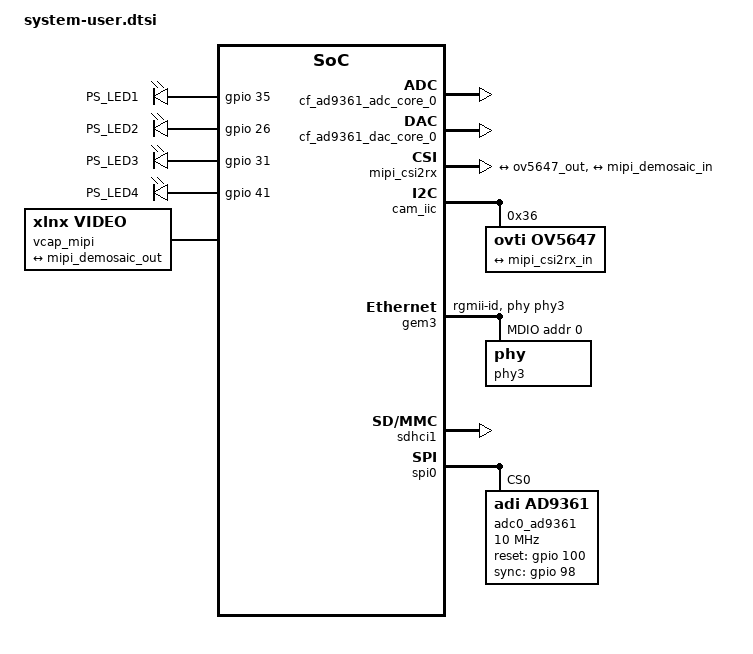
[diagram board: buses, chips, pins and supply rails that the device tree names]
/include/ "system-conf.dtsi"
/ {
	chosen {
		bootargs = "console=ttyPS0,115200 earlycon root=/dev/mmcblk1p2 rw rootwait";
		stdout-path = "serial0:115200n8";
	};

	leds {
		compatible = "gpio-leds";

		ps_led1 {
			label = "PS_LED1";
			gpios = <&gpio 35 0>; /* MIO35, Active High */
			default-state = "off";
		};

		ps_led2 {
			label = "PS_LED2";
			gpios = <&gpio 26 0>; /* MIO26, Active High */
			default-state = "off";
		};

		ps_led3 {
			label = "PS_LED3";
			gpios = <&gpio 31 0>; /* MIO31, Active High */
			linux,default-trigger = "heartbeat";
		};

		ps_led4 {
			label = "PS_LED4";
			gpios = <&gpio 41 0>; /* MIO41, Active High */
			default-state = "on";
		};
	};

	tcm_0a: tcm@ffe00000 {
		compatible = "mmio-sram";
		reg = <0x0 0xffe00000 0x0 0x10000>;
		power-domain = <&zynqmp_firmware 15>;
	};

	tcm_0b: tcm@ffe20000 {
		compatible = "mmio-sram";
		reg = <0x0 0xffe20000 0x0 0x10000>;
		power-domain = <&zynqmp_firmware 16>;
	};

	tcm_1a: tcm@ffe90000 {
		compatible = "mmio-sram";
		reg = <0x0 0xffe90000 0x0 0x10000>;
		power-domain = <&zynqmp_firmware 17>;
	};

	tcm_1b: tcm@ffeb0000 {
		compatible = "mmio-sram";
		reg = <0x0 0xffeb0000 0x0 0x10000>;
		power-domain = <&zynqmp_firmware 18>;
	};

	rpu: rpu@ff9a0000 {
		compatible = "xlnx,zynqmp-r5-remoteproc";
		xlnx,cluster-mode = <1>; /* split：双核独立运行（0=lockstep，1=split） */
		#address-cells = <2>;
		#size-cells = <2>;
		ranges;

		r5_0: r5@0 {
			compatible = "xlnx,zynqmp-r5-remoteproc";
			sram = <&tcm_0a>, <&tcm_0b>;
			power-domain = <&zynqmp_firmware 7>;
			mboxes = <&ipi_mailbox_rpu0 0>, <&ipi_mailbox_rpu0 1>;
			mbox-names = "tx", "rx";
		};

		r5_1: r5@1 {
			compatible = "xlnx,zynqmp-r5-remoteproc";
			sram = <&tcm_1a>, <&tcm_1b>;
			power-domain = <&zynqmp_firmware 8>;
			mboxes = <&ipi_mailbox_rpu1 0>, <&ipi_mailbox_rpu1 1>;
			mbox-names = "tx", "rx";
		};
	};

	/* AD9361 参考时钟占位：40MHz。实际时钟源（核心板 AD9523-1 或 FMCOMMS3 卡上
	 * AD9523）需按原理图核实后替换为 ad9523 时钟驱动节点 */
	ad9361_clkin: ad9361-clkin {
		compatible = "fixed-clock";
		clock-frequency = <40000000>;
		clock-output-names = "ad9361_ext_refclk";
		#clock-cells = <0>;
	};

	/* OV5647 XVCLK 25MHz：树莓派兼容模组自带晶振，驱动只读频率做 PLL 计算
	 * (ov5647.c 要求严格 25MHz)，不驱动引脚 */
	cam_xvclk: cam-xvclk {
		compatible = "fixed-clock";
		clock-frequency = <25000000>;
		#clock-cells = <0>;
	};

	/* MIPI V4L2 采集管线容器（xlnx,video）：frmbuf DMA 通道 + media graph 根 */
	vcap_mipi: vcap-mipi {
		compatible = "xlnx,video";
		dmas = <&mipi_frmbuf_wr 0>;
		dma-names = "port0";

		ports {
			#address-cells = <1>;
			#size-cells = <0>;

			port@0 {
				reg = <0>;
				direction = "input";
				vcap_mipi_in0: endpoint {
					remote-endpoint = <&mipi_demosaic_out>;
				};
			};
		};
	};

	/* AD9361 PL 数据通路（地址与 tcl/02b_ad9361.tcl 一致） */
	fpga_axi: fpga-axi@0 {
		interrupt-parent = <&gic>;
		compatible = "simple-bus";
		#address-cells = <0x2>;
		#size-cells = <0x2>;
		ranges;

		rx_dma: dma@80110000 {
			compatible = "adi,axi-dmac-1.00.a";
			reg = <0x0 0x80110000 0x0 0x10000>;
			#dma-cells = <1>;
			#clock-cells = <0>;
			/* xlconcat_0 In4 -> pl_ps_irq0[4] = GIC SPI 93 */
			interrupts = <0 93 4>;
			clocks = <&zynqmp_clk 71>;

			adi,channels {
				#size-cells = <0>;
				#address-cells = <1>;

				dma-channel@0 {
					reg = <0>;
					adi,source-bus-width = <64>;
					adi,source-bus-type = <2>;
					adi,destination-bus-width = <64>;
					adi,destination-bus-type = <0>;
				};
			};
		};

		tx_dma: dma@80120000 {
			compatible = "adi,axi-dmac-1.00.a";
			reg = <0x0 0x80120000 0x0 0x10000>;
			#dma-cells = <1>;
			#clock-cells = <0>;
			/* xlconcat_0 In5 -> pl_ps_irq0[5] = GIC SPI 94 */
			interrupts = <0 94 4>;
			clocks = <&zynqmp_clk 71>;

			adi,channels {
				#size-cells = <0>;
				#address-cells = <1>;

				dma-channel@0 {
					reg = <0>;
					adi,source-bus-width = <64>;
					adi,source-bus-type = <0>;
					adi,destination-bus-width = <64>;
					adi,destination-bus-type = <1>;
				};
			};
		};

		cf_ad9361_adc_core_0: cf-ad9361-lpc@80100000 {
			compatible = "adi,axi-ad9361-6.00.a";
			reg = <0x0 0x80100000 0x0 0x6000>;
			dmas = <&rx_dma 0>;
			dma-names = "rx";
			spibus-connected = <&adc0_ad9361>;
		};

		cf_ad9361_dac_core_0: cf-ad9361-dds-core-lpc@80104000 {
			compatible = "adi,axi-ad9361-dds-6.00.a";
			reg = <0x0 0x80104000 0x0 0x1000>;
			clocks = <&adc0_ad9361 13>;
			clock-names = "sampl_clk";
			dmas = <&tx_dma 0>;
			dma-names = "tx";
		};

		/* ===== MIPI CSI-2 摄像头 (OV5647) —— 地址/中断与 tcl/02c_mipi_csi.tcl 一致 =====
		 * 链路: ov5647(SBGGR10) -> csi2rx -> demosaic(RGB30) -> frmbuf -> HP3
		 * 中断走 xlconcat_1 -> pl_ps_irq1[0..2] = GIC SPI 167/168/169
		 * 时钟: 71=pl_clk0(100M 控制) 72=pl_clk1(300M 视频)
		 */
		mipi_csi2rx: csi2rx@80130000 {
			compatible = "xlnx,mipi-csi2-rx-subsystem-5.0";
			reg = <0x0 0x80130000 0x0 0x10000>;
			interrupts = <0 167 4>;
			clocks = <&zynqmp_clk 71>, <&zynqmp_clk 72>;
			clock-names = "lite_aclk", "video_aclk";
			xlnx,csi-pxl-format = <0x2b>; /* RAW10 */
			xlnx,vfb;

			ports {
				#address-cells = <1>;
				#size-cells = <0>;

				port@0 {
					reg = <0>;
					mipi_csi2rx_in: endpoint {
						data-lanes = <1 2>;
						remote-endpoint = <&ov5647_out>;
					};
				};
				port@1 {
					reg = <1>;
					mipi_csi2rx_out: endpoint {
						remote-endpoint = <&mipi_demosaic_in>;
					};
				};
			};
		};

		mipi_demosaic: demosaic@80140000 {
			compatible = "xlnx,v-demosaic";
			reg = <0x0 0x80140000 0x0 0x10000>;
			clocks = <&zynqmp_clk 72>;
			reset-gpios = <&axi_gpio_mipi_rst 0 1>; /* GPIO_ACTIVE_LOW */
			xlnx,max-width = <3840>;
			xlnx,max-height = <2160>;

			ports {
				#address-cells = <1>;
				#size-cells = <0>;

				port@0 {
					reg = <0>;
					xlnx,video-width = <10>;
					mipi_demosaic_in: endpoint {
						remote-endpoint = <&mipi_csi2rx_out>;
					};
				};
				port@1 {
					reg = <1>;
					xlnx,video-width = <10>;
					mipi_demosaic_out: endpoint {
						remote-endpoint = <&vcap_mipi_in0>;
					};
				};
			};
		};

		mipi_frmbuf_wr: frmbuf-wr@80150000 {
			compatible = "xlnx,axi-frmbuf-wr-v2.2"; /* IP 2.4，寄存器兼容 v2.2 */
			#dma-cells = <1>;
			reg = <0x0 0x80150000 0x0 0x10000>;
			interrupts = <0 168 4>;
			clocks = <&zynqmp_clk 72>;
			clock-names = "ap_clk";
			reset-gpios = <&axi_gpio_mipi_rst 1 1>; /* GPIO_ACTIVE_LOW */
			xlnx,vid-formats = "xbgr2101010"; /* V4L2_PIX_FMT_XBGR30 */
			xlnx,max-width = <3840>;
			xlnx,max-height = <2160>;
			xlnx,pixels-per-clock = <1>;
			xlnx,dma-addr-width = <32>;
		};

		cam_iic: i2c@80160000 {
			compatible = "xlnx,xps-iic-2.00.a";
			reg = <0x0 0x80160000 0x0 0x10000>;
			interrupts = <0 169 4>;
			clocks = <&zynqmp_clk 71>;
			#address-cells = <1>;
			#size-cells = <0>;

			ov5647: camera@36 {
				compatible = "ovti,ov5647";
				reg = <0x36>;
				clocks = <&cam_xvclk>;

				port {
					ov5647_out: endpoint {
						data-lanes = <1 2>;
						remote-endpoint = <&mipi_csi2rx_in>;
					};
				};
			};
		};

		/* demosaic/frmbuf 的 ap_rst_n 复位控制（驱动强制要求 reset-gpios，
		 * 位0=demosaic 位1=frmbuf，低有效，见 tcl/02c_mipi_csi.tcl 6b 节） */
		axi_gpio_mipi_rst: gpio@80170000 {
			compatible = "xlnx,axi-gpio-2.0", "xlnx,xps-gpio-1.00.a";
			reg = <0x0 0x80170000 0x0 0x10000>;
			#gpio-cells = <2>;
			gpio-controller;
			clocks = <&zynqmp_clk 71>;
			xlnx,gpio-width = <0x2>;
			xlnx,all-outputs = <0x1>;
		};
	};
};

/* FMC F12（B50_L6_P，板上网络名 PWRGD）：厂商参考设计将其恒定驱动为高。
 * 现由 PL 常量端口 pwrgd 直接驱动（tcl/02b_ad9361.tcl + IMAGE_15EG.xdc），
 * 不再占用 EMIO GPIO，因此无需 hog。
 * 注：RESETB(EMIO[22])/SYNC(EMIO[20]) 由 ad9361 驱动的
 * reset-gpios/sync-gpios 管理，驱动 probe 时自会处理。 */

&zynqmp_ipi {
	ipi_mailbox_rpu0: mailbox@ff990000 {
		reg = <0x0 0xff990400 0x0 0x20>,
		      <0x0 0xff990420 0x0 0x20>,
		      <0x0 0xff990000 0x0 0x20>,
		      <0x0 0xff990020 0x0 0x20>;
		reg-names = "local_request_region",
		            "local_response_region",
		            "remote_request_region",
		            "remote_response_region";
		#mbox-cells = <1>;
		xlnx,ipi-id = <1>;
	};

	ipi_mailbox_rpu1: mailbox@ff990200 {
		reg = <0x0 0xff990400 0x0 0x20>,
		      <0x0 0xff990420 0x0 0x20>,
		      <0x0 0xff990200 0x0 0x20>,
		      <0x0 0xff990220 0x0 0x20>;
		reg-names = "local_request_region",
		            "local_response_region",
		            "remote_request_region",
		            "remote_response_region";
		#mbox-cells = <1>;
		xlnx,ipi-id = <2>;
	};
};

&gpio {
	status = "okay";
};

&gem3 {
	local-mac-address = [00 0a 35 00 00 02];
	phy-handle = <&phy3>;
	phy-mode = "rgmii-id";
	mdio {
		#address-cells = <1>;
		#size-cells = <0>;
		phy3: phy@0 {
			reg = <0>;
		};
	};
};

&xxv_ethernet_0 {
	local-mac-address = [00 0a 35 00 00 03];
};

&axi_gpio_led {
	status = "disabled"; /* PL LED 由 R5 固件独占控制 */
};

&sdhci1 {
	status = "okay";
	disable-wp;
	no-1-8-v;
};

/* AD9361 SPI + PHY（PS SPI0 via EMIO；配置取自 ADI adi-fmcomms2.dtsi FMCOMMS3） */
&spi0 {
	status = "okay";

	adc0_ad9361: ad9361-phy@0 {
		compatible = "adi,ad9361";
		reg = <0>;

		/* SPI Setup */
		spi-cpha;
		spi-max-frequency = <10000000>;

		/* Clocks */
		clocks = <&ad9361_clkin 0>;
		clock-names = "ad9361_ext_refclk";
		clock-output-names = "rx_sampl_clk", "tx_sampl_clk";
		#clock-cells = <1>;

		/* Control GPIOs（线号 = 78 + EMIO bit，见 IMAGE_15EG.xdc 注释） */
		reset-gpios = <&gpio 100 0>; /* EMIO[22] -> AD9361 RESETB (AB6), 低电平复位 */
		sync-gpios = <&gpio 98 0>;  /* EMIO[20] -> SYNC (U6) */

		/* Digital Interface Control */
		adi,digital-interface-tune-skip-mode = <0>;
		adi,pp-tx-swap-enable;
		adi,pp-rx-swap-enable;
		adi,rx-frame-pulse-mode-enable;
		adi,lvds-mode-enable;
		adi,lvds-bias-mV = <150>;
		adi,lvds-rx-onchip-termination-enable;
		adi,rx-data-delay = <4>;
		adi,tx-fb-clock-delay = <7>;

		adi,dcxo-coarse-and-fine-tune = <8 5920>;

		/* Mode Setup */
		adi,2rx-2tx-mode-enable;

		/* ENSM Mode */
		adi,frequency-division-duplex-mode-enable;

		adi,rx-rf-port-input-select = <0>; /* RX1A/RX2A balanced */
		adi,tx-rf-port-input-select = <0>; /* TX1A/TX2A */
		adi,tx-attenuation-mdB = <10000>;
		adi,tx-lo-powerdown-managed-enable;

		adi,rf-rx-bandwidth-hz = <18000000>;
		adi,rf-tx-bandwidth-hz = <18000000>;
		adi,rx-synthesizer-frequency-hz = /bits/ 64 <2400000000>;
		adi,tx-synthesizer-frequency-hz = /bits/ 64 <2450000000>;

		/*              BBPLL     ADC        R2CLK     R1CLK    CLKRF    RSAMPL  */
		adi,rx-path-clock-frequencies = <983040000 245760000 122880000 61440000 30720000 30720000>;
		/*              BBPLL     DAC        T2CLK     T1CLK    CLKTF    TSAMPL  */
		adi,tx-path-clock-frequencies = <983040000 122880000 122880000 61440000 30720000 30720000>;

		/* Gain Control: Slow Attack AGC */
		adi,gc-rx1-mode = <2>;
		adi,gc-rx2-mode = <2>;
		adi,gc-adc-ovr-sample-size = <4>;
		adi,gc-adc-small-overload-thresh = <47>;
		adi,gc-adc-large-overload-thresh = <58>;
		adi,gc-lmt-overload-high-thresh = <800>;
		adi,gc-lmt-overload-low-thresh = <704>;
		adi,gc-dec-pow-measurement-duration = <8192>;
		adi,gc-low-power-thresh = <24>;
		adi,mgc-inc-gain-step = <2>;
		adi,mgc-dec-gain-step = <2>;
		adi,mgc-split-table-ctrl-inp-gain-mode = <0>;

		/* Automatic Gain Control Setup */
		adi,agc-attack-delay-extra-margin-us = <1>;
		adi,agc-outer-thresh-high = <5>;
		adi,agc-outer-thresh-high-dec-steps = <2>;
		adi,agc-inner-thresh-high = <10>;
		adi,agc-inner-thresh-high-dec-steps = <1>;
		adi,agc-inner-thresh-low = <12>;
		adi,agc-inner-thresh-low-inc-steps = <1>;
		adi,agc-outer-thresh-low = <18>;
		adi,agc-outer-thresh-low-inc-steps = <2>;
		adi,agc-adc-small-overload-exceed-counter = <10>;
		adi,agc-adc-large-overload-exceed-counter = <10>;
		adi,agc-adc-large-overload-inc-steps = <2>;
		adi,agc-lmt-overload-large-exceed-counter = <10>;
		adi,agc-lmt-overload-small-exceed-counter = <10>;
		adi,agc-lmt-overload-large-inc-steps = <2>;
		adi,agc-gain-update-interval-us = <1000>;

		/* Fast AGC */
		adi,fagc-dec-pow-measurement-duration = <64>;
		adi,fagc-lp-thresh-increment-steps = <1>;
		adi,fagc-lp-thresh-increment-time = <5>;
		adi,fagc-energy-lost-stronger-sig-gain-lock-exit-cnt = <8>;
		adi,fagc-final-overrange-count = <3>;
		adi,fagc-gain-index-type-after-exit-rx-mode = <0>;
		adi,fagc-lmt-final-settling-steps = <1>;
		adi,fagc-lock-level = <10>;
		adi,fagc-lock-level-gain-increase-upper-limit = <5>;
		adi,fagc-lock-level-lmt-gain-increase-enable;
		adi,fagc-lpf-final-settling-steps = <1>;
		adi,fagc-optimized-gain-offset = <5>;
		adi,fagc-power-measurement-duration-in-state5 = <64>;
		adi,fagc-rst-gla-engergy-lost-goto-optim-gain-enable;
		adi,fagc-rst-gla-engergy-lost-sig-thresh-below-ll = <10>;
		adi,fagc-rst-gla-engergy-lost-sig-thresh-exceeded-enable;
		adi,fagc-rst-gla-if-en-agc-pulled-high-mode = <0>;
		adi,fagc-rst-gla-large-adc-overload-enable;
		adi,fagc-rst-gla-large-lmt-overload-enable;
		adi,fagc-rst-gla-stronger-sig-thresh-above-ll = <10>;
		adi,fagc-rst-gla-stronger-sig-thresh-exceeded-enable;
		adi,fagc-state-wait-time-ns = <260>;
		adi,fagc-use-last-lock-level-for-set-gain-enable;

		/* RSSI */
		adi,rssi-restart-mode = <3>;
		adi,rssi-delay = <1>;
		adi,rssi-wait = <1>;
		adi,rssi-duration = <1000>;

		/* Control Outputs */
		adi,ctrl-outs-index = <0>;
		adi,ctrl-outs-enable-mask = <0xFF>;

		/* AuxADC Temp Sense Control */
		adi,temp-sense-measurement-interval-ms = <1000>;
		adi,temp-sense-offset-signed = <0xCE>;
		adi,temp-sense-periodic-measurement-enable;

		/* AuxDAC Control */
		adi,aux-dac-manual-mode-enable;
		adi,aux-dac1-default-value-mV = <0>;
		adi,aux-dac1-rx-delay-us = <0>;
		adi,aux-dac1-tx-delay-us = <0>;
		adi,aux-dac2-default-value-mV = <0>;
		adi,aux-dac2-rx-delay-us = <0>;
		adi,aux-dac2-tx-delay-us = <0>;
	};
};
